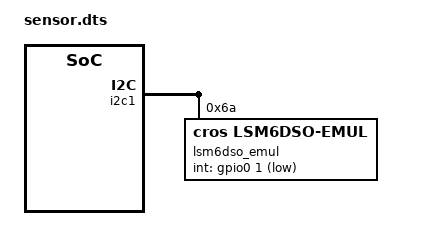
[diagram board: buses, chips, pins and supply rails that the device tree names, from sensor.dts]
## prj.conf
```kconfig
# Copyright 2026 The ChromiumOS Authors
# Use of this source code is governed by a BSD-style license that can be
# found in the LICENSE file.

CONFIG_PLATFORM_EC_ACCELGYRO_LSM6DSO=y

CONFIG_LOG=y
CONFIG_LOG_MODE_MINIMAL=y
CONFIG_POSIX_ARCH_CONSOLE_INIT_PRIORITY=98
CONFIG_PLATFORM_EC_CONSOLE_INIT_PRIORITY=99

# LOG_MODE_MININAL sends output to printk.  CONFIG_PLATFORM_EC_CONSOLE_DEBUG
# also uses printk and causes duplicate output.
CONFIG_PLATFORM_EC_CONSOLE_DEBUG=n
CONFIG_SENSOR_LOG_LEVEL_DBG=y
CONFIG_SENSOR=y
```

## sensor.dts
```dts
/* Copyright 2026 The ChromiumOS Authors
 * Use of this source code is governed by a BSD-style license that can be
 * found in the LICENSE file.
 */

#include "dt-bindings/gpio_defines.h"
#include <dt-bindings/motionsense/utils.h>

/ {
  aliases {
		lsm6dso-int = &ms_lsm6dso_accel;
		/delete-property/ bmi160-int;
		/delete-property/ bmi260-int;
		/delete-property/ tcs3400-int;
		/delete-property/ default-on-body-sensor;
  };

  motionsense-mutex {
		mutex_lsm6dso: lsm6dso-mutex {
		};
  };

  motionsense-sensor-data {
		lsm6dso_data_accel: lsm6dso-accel-drv-data {
			compatible = "cros-ec,drvdata-lsm6dso";
			status = "okay";
		};

		lsm6dso_data_gyro: lsm6dso-gyro-drv-data {
			compatible = "cros-ec,drvdata-lsm6dso";
			status = "okay";
		};
  };

  motionsense-sensor {

		lid_accel: ms-bma4xx {};

		base_accel: ms_lsm6dso_accel: ms-lsm6dso-accel {
			compatible = "cros-ec,lsm6dso-accel";
			status = "okay";

			active-mask = "SENSOR_ACTIVE_S0_S3_S5";
			location = "MOTIONSENSE_LOC_BASE";
			mutex = <&mutex_lsm6dso>;
			port = <&named_i2c1>;
			drv-data = <&lsm6dso_data_accel>;
			configs {
				compatible =
					"cros-ec,motionsense-sensor-config";
				ec-s0 {
					odr = <(13000 | ROUND_UP_FLAG)>;
				};
				ec-s3 {
					odr = <(13000 | ROUND_UP_FLAG)>;
					ec-rate = <(100 * USEC_PER_MSEC)>;
				};
			};
		};

		ms_lsm6dso_gyro: ms-lsm6dso-gyro {
			compatible = "cros-ec,lsm6dso-gyro";
			status = "okay";

			active-mask = "SENSOR_ACTIVE_S0_S3_S5";
			location = "MOTIONSENSE_LOC_BASE";
			mutex = <&mutex_lsm6dso>;
			port = <&named_i2c1>;
			drv-data = <&lsm6dso_data_gyro>;
		};
  };

	motionsense-sensor-info {
		accel-force-mode-sensors = <&ms_bma4xx>;
		sensor-irqs = <&base_imu>;
	};

	gpio-interrupts {
		compatible = "cros-ec,gpio-interrupts";

		base_imu: base-imu {
			irq-pin = <&gpio_base_imu_int_l>;
			flags = <GPIO_INT_EDGE_FALLING>;
			handler = "lsm6dso_interrupt";
		};
	};
	named-gpios {
		compatible = "named-gpios";
		gpio_base_imu_int_l: imu_base_l {
			gpios = <&gpio0 1 (GPIO_INPUT | GPIO_ACTIVE_LOW)>;
		};
	};
};

&i2c1 {
		lsm6dso_emul: lsm6dso@6a {
			compatible = "cros,lsm6dso-emul";
			status = "okay";
			reg = <0x6a>;
			int-gpios = <&gpio0 1 GPIO_ACTIVE_LOW>;
		};
};

/delete-node/ &ms_bma255;
/delete-node/ &ms_bmi260_accel;
/delete-node/ &ms_bmi260_gyro;
/delete-node/ &ms_bmi160_accel;
/delete-node/ &ms_bmi160_gyro;
/delete-node/ &ms_lis2dw12_accel;
/delete-node/ &tcs3400_clear;
/delete-node/ &tcs3400_rgb;
/delete-node/ &accel_bmi160;
/delete-node/ &bma422_emul;
```

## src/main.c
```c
/* Copyright 2026 The ChromiumOS Authors
 * Use of this source code is governed by a BSD-style license that can be
 * found in the LICENSE file.
 */

#include "driver/accelgyro_lsm6dso.h"
#include "driver/accelgyro_lsm6dso_public.h"
#include "emul/emul_lsm6dso.h"
#include "motion_sense.h"
#include "motion_sense_fifo.h"
#include "test/drivers/test_state.h"

#include <zephyr/drivers/gpio.h>
#include <zephyr/ztest.h>

#define LSM6DSO_NODE DT_NODELABEL(lsm6dso_emul)
#define ACC_SENSOR_ID SENSOR_ID(DT_NODELABEL(ms_lsm6dso_accel))
#define GYR_SENSOR_ID SENSOR_ID(DT_NODELABEL(ms_lsm6dso_gyro))

static const struct emul *emul = EMUL_DT_GET(LSM6DSO_NODE);
static struct motion_sensor_t *acc = &motion_sensors[ACC_SENSOR_ID];
static struct motion_sensor_t *gyr = &motion_sensors[GYR_SENSOR_ID];

ZTEST_SUITE(lsm6dso, drivers_predicate_post_main, NULL, NULL, NULL, NULL);

ZTEST(lsm6dso, test_disable_interrupt)
{
	static struct ec_response_motion_sensor_data data[2];

	const struct gpio_dt_spec spec =
		GPIO_DT_SPEC_GET(LSM6DSO_NODE, int_gpios);
	int count;
	uint16_t read_byte_count;

	/* Set data rate to 13Hz, without this the FIFO will never be enabled */
	acc->config[SENSOR_CONFIG_AP].odr = LSM6DSO_ODR_MIN_VAL;
	acc->drv->set_data_rate(acc, LSM6DSO_ODR_MIN_VAL, 1);
	k_msleep(100);

	/* The lsm6dso throws away a few samples after an ODR change, burn
	 * through those so that the next sample would get on the FIFO if
	 * enabled.
	 */
	for (int i = 0; i < LSM6DSO_DISCARD_SAMPLES; ++i) {
		emul_lsm6dso_append_sample(emul, MOTIONSENSE_TYPE_ACCEL, 0.0f,
					   0.0f, 0.0f);
	}
	k_msleep(100);

	/* Disable the interrupts */
	acc->drv->enable_interrupt(acc, false);

	/* Clear out the soft motionsense FIFO */
	motion_sense_fifo_reset();

	/* Add an accel sample while interrupts are disabled */
	emul_lsm6dso_append_sample(emul, MOTIONSENSE_TYPE_ACCEL, 0.5f, -0.5f,
				   0.25f);
	k_msleep(100);

	/* Interrupt should be deasserted and no events should be on the FIFO */
	count = motion_sense_fifo_read(sizeof(data), ARRAY_SIZE(data), data,
				       &read_byte_count);
	zassert_equal(0, gpio_pin_get_dt(&spec));
	zassert_equal(0, count, "FIFO had %d entries", count);
	zassert_equal(0, read_byte_count, "FIFO read %u bytes",
		      read_byte_count);

	/* Flush the hardware FIFO and reset the soft motionsense FIFO */
	uint32_t event = CONFIG_ACCEL_LSM6DSO_INT_EVENT;
	zassert_equal(EC_SUCCESS, acc->drv->irq_handler(acc, &event));
	motion_sense_fifo_reset();

	/* Enable the interrupts */
	acc->drv->enable_interrupt(acc, true);

	/* Add another accel sample (1g, 0.5g, -0.25g) */
	emul_lsm6dso_append_sample(emul, MOTIONSENSE_TYPE_ACCEL, 1.0f, 0.5f,
				   -0.25f);
	zassert_equal(1, gpio_pin_get_dt(&spec));

	/* After we sleep, the motion sense loop should read the sample */
	k_msleep(100);
	count = motion_sense_fifo_read(sizeof(data), ARRAY_SIZE(data), data,
				       &read_byte_count);
	zassert_equal(0, gpio_pin_get_dt(&spec));
	zassert_equal(2, count, "FIFO had %d entries", count);
	zassert_equal(sizeof(data), read_byte_count, "FIFO read %u bytes",
		      read_byte_count);
	zassert_equal(MOTIONSENSE_SENSOR_FLAG_TIMESTAMP, data[0].flags);
	zassert_equal(ACC_SENSOR_ID, data[0].sensor_num);
	zassert_equal(0, data[1].flags);
	zassert_equal(ACC_SENSOR_ID, data[1].sensor_num,
		      "Sensor # expected %d, was %u", ACC_SENSOR_ID,
		      data[1].sensor_num);
	zassert_within(INT16_MAX / acc->current_range, data[1].data[X], 1);
	zassert_within(INT16_MAX / (2 * acc->current_range), data[1].data[Y],
		       1);
	zassert_within(-INT16_MAX / (4 * acc->current_range), data[1].data[Z],
		       1);
}

ZTEST(lsm6dso, test_invalid_fifo_tag)
{
	static struct ec_response_motion_sensor_data data[2];
	int count;
	uint16_t read_byte_count;

	/* Configure ODR and burn discard samples */
	acc->config[SENSOR_CONFIG_AP].odr = LSM6DSO_ODR_MIN_VAL;
	acc->drv->set_data_rate(acc, LSM6DSO_ODR_MIN_VAL, 1);
	k_msleep(100);
	for (int i = 0; i < LSM6DSO_DISCARD_SAMPLES; ++i) {
		emul_lsm6dso_append_sample(emul, MOTIONSENSE_TYPE_ACCEL, 0.0f,
					   0.0f, 0.0f);
	}
	k_msleep(100);
	motion_sense_fifo_reset();

	/* Enable interrupts */
	acc->drv->enable_interrupt(acc, true);

	/* Append invalid FIFO tags:
	 * Tag 0x00: Reserved/Invalid
	 * Tag 0x03: Temperature sensor tag
	 * Tag 0x04: Timestamp tag
	 * Tag 0x0F: Maximum 4-bit tag
	 * Tag 0x1F: Out-of-bounds 5-bit tag
	 */
	emul_lsm6dso_append_raw_tag(emul, 0x00, 100, 200, 300);
	emul_lsm6dso_append_raw_tag(emul, 0x03, 100, 200, 300);
	emul_lsm6dso_append_raw_tag(emul, 0x04, 100, 200, 300);
	emul_lsm6dso_append_raw_tag(emul, 0x0F, 100, 200, 300);
	emul_lsm6dso_append_raw_tag(emul, 0x1F, 100, 200, 300);

	/* Append one valid Accel tag (LSM6DSO_ACC_TAG = 0x02) */
	emul_lsm6dso_append_raw_tag(emul, LSM6DSO_ACC_TAG,
				    INT16_MAX / acc->current_range,
				    INT16_MAX / (2 * acc->current_range),
				    -INT16_MAX / (4 * acc->current_range));

	/* Motion sense loop processes the FIFO */
	k_msleep(100);

	/* Verify only the 1 valid sample made it to the FIFO */
	count = motion_sense_fifo_read(sizeof(data), ARRAY_SIZE(data), data,
				       &read_byte_count);
	zassert_equal(2, count, "Expected 2 entries, got %d", count);
	zassert_equal(sizeof(data), read_byte_count, "FIFO read %u bytes",
		      read_byte_count);
	zassert_equal(MOTIONSENSE_SENSOR_FLAG_TIMESTAMP, data[0].flags);
	zassert_equal(ACC_SENSOR_ID, data[0].sensor_num);
	zassert_equal(0, data[1].flags);
	zassert_equal(ACC_SENSOR_ID, data[1].sensor_num);
	zassert_within(INT16_MAX / acc->current_range, data[1].data[X], 1);
	zassert_within(INT16_MAX / (2 * acc->current_range), data[1].data[Y],
		       1);
	zassert_within(-INT16_MAX / (4 * acc->current_range), data[1].data[Z],
		       1);
}

ZTEST(lsm6dso, test_gyro_sample)
{
	static struct ec_response_motion_sensor_data data[2];
	int count;
	uint16_t read_byte_count;

	/* Configure Gyro ODR and burn discard samples */
	gyr->config[SENSOR_CONFIG_AP].odr = LSM6DSO_ODR_MIN_VAL;
	gyr->drv->set_data_rate(gyr, LSM6DSO_ODR_MIN_VAL, 1);
	gyr->oversampling_ratio = 1;
	k_msleep(100);
	for (int i = 0; i < LSM6DSO_DISCARD_SAMPLES; ++i) {
		emul_lsm6dso_append_sample(emul, MOTIONSENSE_TYPE_GYRO, 0.0f,
					   0.0f, 0.0f);
	}
	k_msleep(100);
	motion_sense_fifo_reset();

	/* Enable interrupts */
	acc->drv->enable_interrupt(acc, true);

	/* Append gyro sample (100 dps, 50 dps, -25 dps) */
	emul_lsm6dso_append_sample(emul, MOTIONSENSE_TYPE_GYRO, 100.0f, 50.0f,
				   -25.0f);

	/* Motion sense loop processes the FIFO */
	k_msleep(100);

	count = motion_sense_fifo_read(sizeof(data), ARRAY_SIZE(data), data,
				       &read_byte_count);
	zassert_equal(2, count, "Expected 2 entries, got %d", count);
	zassert_equal(sizeof(data), read_byte_count, "FIFO read %u bytes",
		      read_byte_count);
	zassert_equal(MOTIONSENSE_SENSOR_FLAG_TIMESTAMP, data[0].flags);
	zassert_equal(GYR_SENSOR_ID, data[0].sensor_num);
	zassert_equal(0, data[1].flags);
	zassert_equal(GYR_SENSOR_ID, data[1].sensor_num);
	zassert_within((100 * INT16_MAX) / gyr->current_range, data[1].data[X],
		       1);
	zassert_within((50 * INT16_MAX) / gyr->current_range, data[1].data[Y],
		       1);
	zassert_within((-25 * INT16_MAX) / gyr->current_range, data[1].data[Z],
		       1);
}
```
